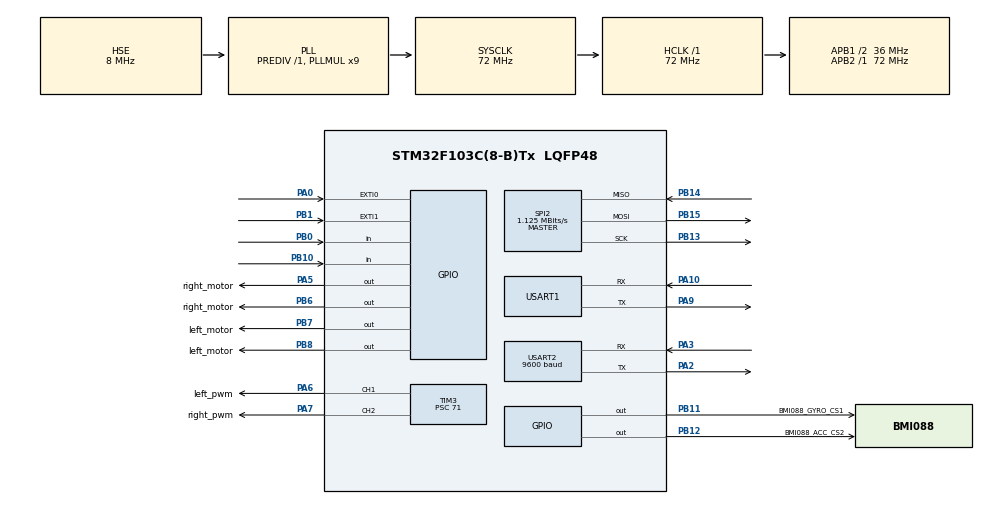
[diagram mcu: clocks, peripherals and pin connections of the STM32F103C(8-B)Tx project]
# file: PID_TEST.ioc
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Mcu.Family=STM32F1
Mcu.Name=STM32F103C(8-B)Tx
Mcu.Package=LQFP48
NVIC.EXTI0_IRQn=true\:1\:0\:true\:false\:true\:true\:true\:true
NVIC.EXTI1_IRQn=true\:1\:0\:true\:false\:true\:true\:true\:true
NVIC.PriorityGroup=NVIC_PRIORITYGROUP_4
NVIC.TIM2_IRQn=true\:2\:0\:true\:false\:true\:true\:true\:true
NVIC.USART1_IRQn=true\:0\:0\:false\:false\:true\:true\:true\:true
NVIC.USART2_IRQn=true\:0\:0\:false\:false\:true\:true\:true\:true
PA0-WKUP.GPIO_PuPd=GPIO_PULLUP
PA0-WKUP.Signal=GPXTI0
PA10.Mode=Asynchronous
PA10.Signal=USART1_RX
PA13.Mode=Serial_Wire
PA13.Signal=SYS_JTMS-SWDIO
PA14.Mode=Serial_Wire
PA14.Signal=SYS_JTCK-SWCLK
PA2.Mode=Asynchronous
PA2.Signal=USART2_TX
PA3.Mode=Asynchronous
PA3.Signal=USART2_RX
PA5.GPIO_Label=right_motor
PA5.Signal=GPIO_Output
PA6.GPIO_Label=left_pwm
PA6.Signal=S_TIM3_CH1
PA7.GPIO_Label=right_pwm
PA7.Signal=S_TIM3_CH2
PA9.Mode=Asynchronous
PA9.Signal=USART1_TX
PB0.GPIO_PuPd=GPIO_PULLUP
PB0.Signal=GPIO_Input
PB1.GPIO_PuPd=GPIO_PULLUP
PB1.Signal=GPXTI1
PB10.GPIO_PuPd=GPIO_PULLUP
PB10.Signal=GPIO_Input
PB11.GPIO_Label=BMI088_GYRO_CS1
PB11.PinState=GPIO_PIN_SET
PB11.Signal=GPIO_Output
PB12.GPIO_Label=BMI088_ACC_CS2
PB12.PinState=GPIO_PIN_SET
PB12.Signal=GPIO_Output
PB13.Mode=Full_Duplex_Master
PB13.Signal=SPI2_SCK
PB14.Mode=Full_Duplex_Master
PB14.Signal=SPI2_MISO
PB15.Mode=Full_Duplex_Master
PB15.Signal=SPI2_MOSI
PB6.GPIO_Label=right_motor
PB6.Signal=GPIO_Output
PB7.GPIO_Label=left_motor
PB7.Signal=GPIO_Output
PB8.GPIO_Label=left_motor
PB8.Signal=GPIO_Output
PD0-OSC_IN.Mode=HSE-External-Oscillator
PD0-OSC_IN.Signal=RCC_OSC_IN
PD1-OSC_OUT.Mode=HSE-External-Oscillator
PD1-OSC_OUT.Signal=RCC_OSC_OUT
ProjectManager.HeapSize=0x200
ProjectManager.StackSize=0x400
ProjectManager.TargetToolchain=CMake
RCC.AHBFreq_Value=72000000
RCC.APB1CLKDivider=RCC_HCLK_DIV2
RCC.APB1Freq_Value=36000000
RCC.APB1TimFreq_Value=72000000
RCC.APB2Freq_Value=72000000
RCC.APB2TimFreq_Value=72000000
RCC.HCLKFreq_Value=72000000
RCC.PLLMUL=RCC_PLL_MUL9
RCC.PLLSourceVirtual=RCC_PLLSOURCE_HSE
RCC.SYSCLKFreq_VALUE=72000000
RCC.SYSCLKSource=RCC_SYSCLKSOURCE_PLLCLK
RCC.USBFreq_Value=72000000
SH.S_TIM3_CH1.0=TIM3_CH1,PWM Generation1 CH1
SH.S_TIM3_CH2.0=TIM3_CH2,PWM Generation2 CH2
SPI2.BaudRatePrescaler=SPI_BAUDRATEPRESCALER_32
SPI2.CLKPhase=SPI_PHASE_2EDGE
SPI2.CLKPolarity=SPI_POLARITY_HIGH
SPI2.CalculateBaudRate=1.125 MBits/s
SPI2.Direction=SPI_DIRECTION_2LINES
SPI2.Mode=SPI_MODE_MASTER
SPI2.VirtualType=VM_MASTER
TIM2.Period=199
TIM2.Prescaler=7199
TIM3.Channel-PWM\ Generation1\ CH1=TIM_CHANNEL_1
TIM3.Channel-PWM\ Generation2\ CH2=TIM_CHANNEL_2
TIM3.Period=999
TIM3.Prescaler=71
USART1.VirtualMode=VM_ASYNC
USART2.BaudRate=9600
USART2.VirtualMode=VM_ASYNC
VP_TIM2_VS_ClockSourceINT.Mode=Internal
VP_TIM3_VS_ClockSourceINT.Mode=Internal
board=custom

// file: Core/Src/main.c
/* USER CODE BEGIN Header */
/**
  ******************************************************************************
  * @file           : main.c
  * @brief          : Main program body
  ******************************************************************************
  * @attention
  *
  * Copyright (c) 2026 STMicroelectronics.
  * All rights reserved.
  *
  * This software is licensed under terms that can be found in the LICENSE file
  * in the root directory of this software component.
  * If no LICENSE file comes with this software, it is provided AS-IS.
  *
  ******************************************************************************
  */
/* USER CODE END Header */
#include "main.h"
#include "spi.h"
#include "tim.h"
#include "usart.h"
#include "gpio.h"

/* USER CODE BEGIN Includes */
#include "motor.h"
#include "encoder.h"
#include <stdio.h>
#include "pid.h"
#include "protocol.h"
#include "remote_control.h"
#include "bluetooth.h"
#include "attitude.h"
#include "bmi088.h"
/* USER CODE END Includes */

/* USER CODE BEGIN PD */
#define PID_OUTPUT_LIMIT 999.0f
#define PID_INTEGRAL_LIMIT 4000.0f
#define STRAIGHT_SYNC_KP 0.35f
#define STRAIGHT_SYNC_KI 0.02f
#define STRAIGHT_SYNC_KD 0.0f
#define STRAIGHT_SYNC_OUTPUT_LIMIT 6.0f
#define STRAIGHT_SYNC_INTEGRAL_LIMIT 100.0f
#define HEADING_HOLD_KP 0.45f
#define HEADING_HOLD_KI 0.006f
#define HEADING_HOLD_KD 0.0f
#define HEADING_HOLD_OUTPUT_LIMIT 12.0f
#define HEADING_HOLD_INTEGRAL_LIMIT 500.0f
#define HEADING_HOLD_DEADBAND_CDEG 50
#define HEADING_HOLD_YAW_SIGN 1.0f
#define HEADING_HOLD_RATE_GAIN 0.08f
#define HEADING_HOLD_GYRO_FS_DPS 2000.0f
#define HEADING_HOLD_GYRO_RAW_FULL_SCALE 32768.0f
#define FORWARD_LEFT_DRIFT_TRIM 1.5f
#define FORWARD_START_LEFT_DRIFT_TRIM 2.0f
#define FORWARD_START_TRIM_MS 350U
#define BACKWARD_RIGHT_DRIFT_TRIM 1.0f
#define IMU_UPDATE_PERIOD_MS 20U

PID_t pid_left;
PID_t pid_right;
PID_t pid_straight_sync;
PID_t pid_heading_hold;

volatile int16_t left_speed = 0;
volatile int16_t right_speed = 0;
volatile float straight_sync_adjust = 0.0f;
volatile float heading_hold_adjust = 0.0f;
volatile int32_t heading_hold_error_cdeg = 0;
volatile int32_t imu_yaw_cdeg = 0;
volatile uint8_t imu_heading_ready = 0;

float target_left_speed = 0.0f;
float target_right_speed = 0.0f;

int left_pwm = 0;
int right_pwm = 0;

static BMI088_RawData imu_accel_raw = {0};
static BMI088_RawData imu_gyro_raw = {0};
static BMI088_RawData imu_gyro_offset = {0};
static Attitude_State imu_attitude = {0};
static uint8_t imu_enabled = 0;
static uint32_t imu_last_update_ms = 0;
static int32_t heading_target_cdeg = 0;
static uint8_t heading_hold_active = 0;
static uint8_t forward_launch_active = 0;
static uint32_t forward_launch_start_ms = 0;
/* USER CODE END PD */

void SystemClock_Config(void);

/* USER CODE BEGIN 0 */
static void StopControlOutput(void)
{
    PID_Clear(&pid_left);
    PID_Clear(&pid_right);
    PID_Clear(&pid_straight_sync);
    PID_Clear(&pid_heading_hold);
    straight_sync_adjust = 0.0f;
    heading_hold_adjust = 0.0f;
    heading_hold_error_cdeg = 0;
    heading_hold_active = 0;
    forward_launch_active = 0;
    left_pwm = 0;
    right_pwm = 0;
    Motor_Left_SetSignedPWM(0);
    Motor_Right_SetSignedPWM(0);
}

static float LimitTargetSpeed(float target)
{
    if (target > REMOTE_CONTROL_MAX_SPEED) target = REMOTE_CONTROL_MAX_SPEED;
    if (target < -REMOTE_CONTROL_MAX_SPEED) target = -REMOTE_CONTROL_MAX_SPEED;
    return target;
}

static float LimitFloat(float value, float min, float max)
{
    if (value > max) value = max;
    if (value < min) value = min;
    return value;
}

static float GetCorrectedGyroZDps(void)
{
    int32_t corrected_raw = (int32_t)imu_gyro_raw.z - (int32_t)imu_gyro_offset.z;
    return ((float)corrected_raw * HEADING_HOLD_GYRO_FS_DPS) / HEADING_HOLD_GYRO_RAW_FULL_SCALE;
}

static void ApplyStraightSyncCorrection(const RemoteControl_State_t *remote)
{
    float target_speed_diff;

    if (remote->turn != 0)
    {
        PID_Clear(&pid_straight_sync);
        straight_sync_adjust = 0.0f;
        return;
    }

    target_speed_diff = target_left_speed - target_right_speed;
    straight_sync_adjust = PID_Calc(&pid_straight_sync,
                                    target_speed_diff,
                                    (float)left_speed - (float)right_speed);

    target_left_speed = LimitTargetSpeed(target_left_speed + straight_sync_adjust);
    target_right_speed = LimitTargetSpeed(target_right_speed - straight_sync_adjust);
}

static void ApplyForwardLeftDriftTrim(const RemoteControl_State_t *remote, uint32_t now)
{
    float trim = FORWARD_LEFT_DRIFT_TRIM;

    if (remote->turn != 0 || remote->throttle <= 0)
    {
        forward_launch_active = 0;
        return;
    }

    if (!forward_launch_active)
    {
        forward_launch_active = 1;
        forward_launch_start_ms = now;
    }

    if ((now - forward_launch_start_ms) < FORWARD_START_TRIM_MS)
    {
        trim += FORWARD_START_LEFT_DRIFT_TRIM;
    }

    target_left_speed = LimitTargetSpeed(target_left_speed + trim);
    target_right_speed = LimitTargetSpeed(target_right_speed - trim);
}

static void ApplyBackwardRightDriftTrim(const RemoteControl_State_t *remote)
{
    if (remote->turn != 0 || remote->throttle >= 0)
    {
        return;
    }

    target_left_speed = LimitTargetSpeed(target_left_speed - BACKWARD_RIGHT_DRIFT_TRIM);
    target_right_speed = LimitTargetSpeed(target_right_speed + BACKWARD_RIGHT_DRIFT_TRIM);
}

static int32_t WrapYawErrorCdeg(int32_t error_cdeg)
{
    while (error_cdeg > 18000)
    {
        error_cdeg -= 36000;
    }

    while (error_cdeg < -18000)
    {
        error_cdeg += 36000;
    }

    return error_cdeg;
}

static void IMU_InitForHeadingHold(void)
{
    Attitude_Init(&imu_attitude);
    imu_heading_ready = 0;

    if (BMI088_Init() != 0)
    {
        imu_enabled = 0;
        return;
    }

    if (Attitude_CalibrateGyro(&imu_gyro_offset) != 0)
    {
        imu_enabled = 0;
        return;
    }

    imu_enabled = 1;
    imu_last_update_ms = HAL_GetTick();
}

static void IMU_Task(void)
{
    if (!imu_enabled)
    {
        return;
    }

    uint32_t now = HAL_GetTick();
    if ((now - imu_last_update_ms) < IMU_UPDATE_PERIOD_MS)
    {
        return;
    }

    imu_last_update_ms = now;

    if (BMI088_ReadRaw(&imu_accel_raw, &imu_gyro_raw) == 0)
    {
        Attitude_Update(&imu_attitude,
                        &imu_accel_raw,
                        &imu_gyro_raw,
                        &imu_gyro_offset,
                        now);
        imu_yaw_cdeg = imu_attitude.yaw_cdeg;
        imu_heading_ready = 1;
    }
}

static void ApplyHeadingHoldCorrection(const RemoteControl_State_t *remote)
{
    if (!imu_heading_ready || remote->turn != 0)
    {
        heading_hold_active = 0;
        heading_hold_adjust = 0.0f;
        heading_hold_error_cdeg = 0;
        PID_Clear(&pid_heading_hold);
        return;
    }

    if (!heading_hold_active)
    {
        heading_target_cdeg = imu_yaw_cdeg;
        heading_hold_active = 1;
        heading_hold_adjust = 0.0f;
        heading_hold_error_cdeg = 0;
        PID_Clear(&pid_heading_hold);
    }

    heading_hold_error_cdeg = WrapYawErrorCdeg(imu_yaw_cdeg - heading_target_cdeg);
    if (Attitude_Abs32(heading_hold_error_cdeg) <= HEADING_HOLD_DEADBAND_CDEG)
    {
        heading_hold_error_cdeg = 0;
    }

    heading_hold_adjust = PID_Calc(&pid_heading_hold,
                                   0.0f,
                                   ((float)heading_hold_error_cdeg * HEADING_HOLD_YAW_SIGN) / 100.0f);
    heading_hold_adjust -= GetCorrectedGyroZDps() * HEADING_HOLD_YAW_SIGN * HEADING_HOLD_RATE_GAIN;
    heading_hold_adjust = LimitFloat(heading_hold_adjust,
                                     -HEADING_HOLD_OUTPUT_LIMIT,
                                     HEADING_HOLD_OUTPUT_LIMIT);

    target_left_speed = LimitTargetSpeed(target_left_speed - heading_hold_adjust);
    target_right_speed = LimitTargetSpeed(target_right_speed + heading_hold_adjust);
}

/* USER CODE END 0 */

int main(void)
{

  /* MCU Configuration--------------------------------------------------------*/

  /* Reset of all peripherals, Initializes the Flash interface and the Systick. */
  HAL_Init();

  /* Configure the system clock */
  SystemClock_Config();

  /* Initialize all configured peripherals */
  MX_GPIO_Init();
  MX_TIM2_Init();
  MX_TIM3_Init();
  MX_USART1_UART_Init();
  MX_USART2_UART_Init();
  MX_SPI2_Init();
  /* USER CODE BEGIN 2 */
  Motor_Init();
  Encoder_Init();
  // Motor_Right_Backward();
  // Motor_Right_SetPWM(500);
  // while (1)
  // {
  // }
  RemoteControl_Init();
  Protocol_Init();
  Bluetooth_Init();

  PID_Init(&pid_left, 25.0f, 0.2f, 0.0f,
           -PID_OUTPUT_LIMIT, PID_OUTPUT_LIMIT,
           -PID_INTEGRAL_LIMIT, PID_INTEGRAL_LIMIT);
  PID_Init(&pid_right, 25.0f, 0.2f, 0.0f,
           -PID_OUTPUT_LIMIT, PID_OUTPUT_LIMIT,
           -PID_INTEGRAL_LIMIT, PID_INTEGRAL_LIMIT);
  PID_Init(&pid_straight_sync,
           STRAIGHT_SYNC_KP, STRAIGHT_SYNC_KI, STRAIGHT_SYNC_KD,
           -STRAIGHT_SYNC_OUTPUT_LIMIT, STRAIGHT_SYNC_OUTPUT_LIMIT,
           -STRAIGHT_SYNC_INTEGRAL_LIMIT, STRAIGHT_SYNC_INTEGRAL_LIMIT);
  PID_Init(&pid_heading_hold,
           HEADING_HOLD_KP, HEADING_HOLD_KI, HEADING_HOLD_KD,
           -HEADING_HOLD_OUTPUT_LIMIT, HEADING_HOLD_OUTPUT_LIMIT,
           -HEADING_HOLD_INTEGRAL_LIMIT, HEADING_HOLD_INTEGRAL_LIMIT);
  IMU_InitForHeadingHold();
  HAL_TIM_Base_Start_IT(&htim2);

  /* USER CODE END 2 */

  /* Infinite loop */
  while (1)
  {

    /* USER CODE BEGIN 3 */
    IMU_Task();
    Protocol_Task();
    Bluetooth_Task();
  }
  /* USER CODE END 3 */
}

void SystemClock_Config(void)
{
  RCC_OscInitTypeDef RCC_OscInitStruct = {0};
  RCC_ClkInitTypeDef RCC_ClkInitStruct = {0};

  /** Initializes the RCC Oscillators according to the specified parameters
  * in the RCC_OscInitTypeDef structure.
  */
  RCC_OscInitStruct.OscillatorType = RCC_OSCILLATORTYPE_HSE;
  RCC_OscInitStruct.HSEState = RCC_HSE_ON;
  RCC_OscInitStruct.HSEPredivValue = RCC_HSE_PREDIV_DIV1;
  RCC_OscInitStruct.HSIState = RCC_HSI_ON;
  RCC_OscInitStruct.PLL.PLLState = RCC_PLL_ON;
  RCC_OscInitStruct.PLL.PLLSource = RCC_PLLSOURCE_HSE;
  RCC_OscInitStruct.PLL.PLLMUL = RCC_PLL_MUL9;
  if (HAL_RCC_OscConfig(&RCC_OscInitStruct) != HAL_OK)
  {
    Error_Handler();
  }

  /** Initializes the CPU, AHB and APB buses clocks
  */
  RCC_ClkInitStruct.ClockType = RCC_CLOCKTYPE_HCLK|RCC_CLOCKTYPE_SYSCLK
                              |RCC_CLOCKTYPE_PCLK1|RCC_CLOCKTYPE_PCLK2;
  RCC_ClkInitStruct.SYSCLKSource = RCC_SYSCLKSOURCE_PLLCLK;
  RCC_ClkInitStruct.AHBCLKDivider = RCC_SYSCLK_DIV1;
  RCC_ClkInitStruct.APB1CLKDivider = RCC_HCLK_DIV2;
  RCC_ClkInitStruct.APB2CLKDivider = RCC_HCLK_DIV1;

  if (HAL_RCC_ClockConfig(&RCC_ClkInitStruct, FLASH_LATENCY_2) != HAL_OK)
  {
    Error_Handler();
  }
}

/* USER CODE BEGIN 4 */
void HAL_TIM_PeriodElapsedCallback(TIM_HandleTypeDef *htim)
{
    if (htim->Instance == TIM2)
    {
        int16_t left_raw = Encoder_GetLeftSpeed();
        int16_t right_raw = Encoder_GetRightSpeed();

        left_speed = (left_speed * 3 + left_raw) / 4;
        right_speed = (right_speed * 3 + right_raw) / 4;

        if (!RemoteControl_UpdateTargets(&target_left_speed, &target_right_speed))
        {
            StopControlOutput();
            return;
        }

        const RemoteControl_State_t *remote = RemoteControl_GetState();
        if (remote->throttle == 0 && remote->turn == 0)
        {
            target_left_speed = 0.0f;
            target_right_speed = 0.0f;
            StopControlOutput();
            return;
        }

        uint32_t now = HAL_GetTick();

        ApplyForwardLeftDriftTrim(remote, now);
        ApplyBackwardRightDriftTrim(remote);
        ApplyStraightSyncCorrection(remote);
        ApplyHeadingHoldCorrection(remote);

        left_pwm = (int)PID_Calc(&pid_left, target_left_speed, left_speed);
        right_pwm = (int)PID_Calc(&pid_right, target_right_speed, right_speed);

        Motor_Left_SetSignedPWM(left_pwm);
        Motor_Right_SetSignedPWM(right_pwm);
    }
}
/* USER CODE END 4 */

void Error_Handler(void)
{
  __disable_irq();
  while (1)
  {
  }
}
